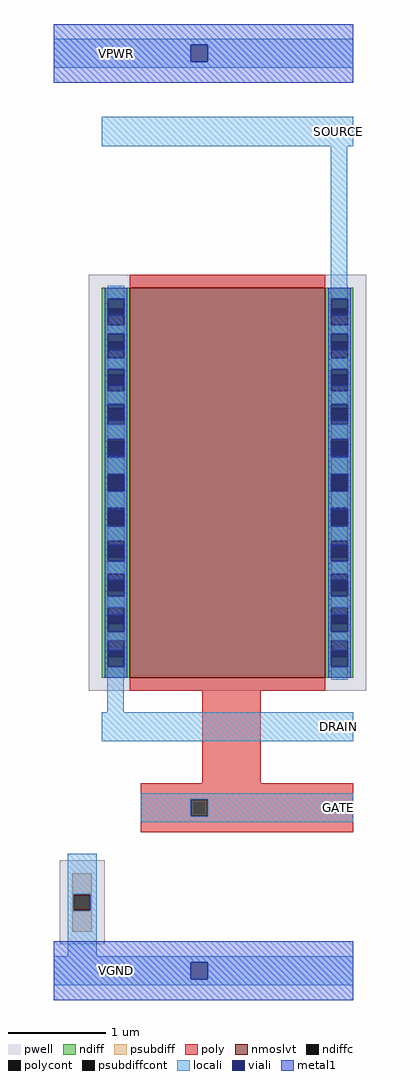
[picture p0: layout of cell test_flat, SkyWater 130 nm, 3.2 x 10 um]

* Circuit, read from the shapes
.subckt test_flat VPWR VGND SOURCE DRAIN GATE
XM1 SOURCE GATE DRAIN VGND sky130_fd_pr__nfet_01v8_lvt w=4 l=2
.ends

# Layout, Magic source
magic
tech sky130A
magscale 1 2
<< pwell >>
rect -284 -426 284 426
rect -344 -946 -252 -774
<< nmoslvt >>
rect -200 -400 200 400
<< ndiff >>
rect -258 357 -200 400
rect -258 323 -246 357
rect -212 323 -200 357
rect -258 289 -200 323
rect -258 255 -246 289
rect -212 255 -200 289
rect -258 221 -200 255
rect -258 187 -246 221
rect -212 187 -200 221
rect -258 153 -200 187
rect -258 119 -246 153
rect -212 119 -200 153
rect -258 85 -200 119
rect -258 51 -246 85
rect -212 51 -200 85
rect -258 17 -200 51
rect -258 -17 -246 17
rect -212 -17 -200 17
rect -258 -51 -200 -17
rect -258 -85 -246 -51
rect -212 -85 -200 -51
rect -258 -119 -200 -85
rect -258 -153 -246 -119
rect -212 -153 -200 -119
rect -258 -187 -200 -153
rect -258 -221 -246 -187
rect -212 -221 -200 -187
rect -258 -255 -200 -221
rect -258 -289 -246 -255
rect -212 -289 -200 -255
rect -258 -323 -200 -289
rect -258 -357 -246 -323
rect -212 -357 -200 -323
rect -258 -400 -200 -357
rect 200 357 258 400
rect 200 323 212 357
rect 246 323 258 357
rect 200 289 258 323
rect 200 255 212 289
rect 246 255 258 289
rect 200 221 258 255
rect 200 187 212 221
rect 246 187 258 221
rect 200 153 258 187
rect 200 119 212 153
rect 246 119 258 153
rect 200 85 258 119
rect 200 51 212 85
rect 246 51 258 85
rect 200 17 258 51
rect 200 -17 212 17
rect 246 -17 258 17
rect 200 -51 258 -17
rect 200 -85 212 -51
rect 246 -85 258 -51
rect 200 -119 258 -85
rect 200 -153 212 -119
rect 246 -153 258 -119
rect 200 -187 258 -153
rect 200 -221 212 -187
rect 246 -221 258 -187
rect 200 -255 258 -221
rect 200 -289 212 -255
rect 246 -289 258 -255
rect 200 -323 258 -289
rect 200 -357 212 -323
rect 246 -357 258 -323
rect 200 -400 258 -357
<< ndiffc >>
rect -246 323 -212 357
rect -246 255 -212 289
rect -246 187 -212 221
rect -246 119 -212 153
rect -246 51 -212 85
rect -246 -17 -212 17
rect -246 -85 -212 -51
rect -246 -153 -212 -119
rect -246 -221 -212 -187
rect -246 -289 -212 -255
rect -246 -357 -212 -323
rect 212 323 246 357
rect 212 255 246 289
rect 212 187 246 221
rect 212 119 246 153
rect 212 51 246 85
rect 212 -17 246 17
rect 212 -85 246 -51
rect 212 -153 246 -119
rect 212 -221 246 -187
rect 212 -289 246 -255
rect 212 -357 246 -323
<< psubdiff >>
rect -318 -843 -278 -800
rect -318 -877 -315 -843
rect -281 -877 -278 -843
rect -318 -920 -278 -877
<< psubdiffcont >>
rect -315 -877 -281 -843
<< poly >>
rect -200 400 200 426
rect -200 -426 200 -400
rect -52 -616 68 -426
rect -178 -649 258 -616
rect -178 -683 -75 -649
rect -41 -683 258 -649
rect -178 -716 258 -683
<< polycont >>
rect -75 -683 -41 -649
<< locali >>
rect -356 897 258 910
rect -356 863 -75 897
rect -41 863 258 897
rect -356 850 258 863
rect -258 690 258 750
rect 211 404 245 690
rect -246 377 -212 404
rect 211 386 246 404
rect -246 305 -212 323
rect -246 233 -212 255
rect -246 161 -212 187
rect -246 89 -212 119
rect -246 17 -212 51
rect -246 -51 -212 -17
rect -246 -119 -212 -89
rect -246 -187 -212 -161
rect -246 -255 -212 -233
rect -246 -323 -212 -305
rect -247 -377 -246 -346
rect -247 -404 -212 -377
rect 212 377 246 386
rect 212 305 246 323
rect 212 233 246 255
rect 212 161 246 187
rect 212 89 246 119
rect 212 17 246 51
rect 212 -51 246 -17
rect 212 -119 246 -89
rect 212 -187 246 -161
rect 212 -255 246 -233
rect 212 -323 246 -305
rect 212 -404 246 -377
rect -247 -470 -213 -404
rect -258 -530 258 -470
rect -178 -649 258 -636
rect -178 -683 -75 -649
rect -41 -683 258 -649
rect -178 -696 258 -683
rect -328 -843 -268 -760
rect -328 -877 -315 -843
rect -281 -877 -268 -843
rect -328 -970 -268 -877
rect -356 -983 258 -970
rect -356 -1017 -75 -983
rect -41 -1017 258 -983
rect -356 -1030 258 -1017
<< viali >>
rect -75 863 -41 897
rect -246 357 -212 377
rect -246 343 -212 357
rect -246 289 -212 305
rect -246 271 -212 289
rect -246 221 -212 233
rect -246 199 -212 221
rect -246 153 -212 161
rect -246 127 -212 153
rect -246 85 -212 89
rect -246 55 -212 85
rect -246 -17 -212 17
rect -246 -85 -212 -55
rect -246 -89 -212 -85
rect -246 -153 -212 -127
rect -246 -161 -212 -153
rect -246 -221 -212 -199
rect -246 -233 -212 -221
rect -246 -289 -212 -271
rect -246 -305 -212 -289
rect -246 -357 -212 -343
rect -246 -377 -212 -357
rect 212 357 246 377
rect 212 343 246 357
rect 212 289 246 305
rect 212 271 246 289
rect 212 221 246 233
rect 212 199 246 221
rect 212 153 246 161
rect 212 127 246 153
rect 212 85 246 89
rect 212 55 246 85
rect 212 -17 246 17
rect 212 -85 246 -55
rect 212 -89 246 -85
rect 212 -153 246 -127
rect 212 -161 246 -153
rect 212 -221 246 -199
rect 212 -233 246 -221
rect 212 -289 246 -271
rect 212 -305 246 -289
rect 212 -357 246 -343
rect 212 -377 246 -357
rect -75 -1017 -41 -983
<< metal1 >>
rect -356 897 258 940
rect -356 863 -75 897
rect -41 863 258 897
rect -356 820 258 863
rect -252 377 -206 400
rect -252 343 -246 377
rect -212 343 -206 377
rect -252 305 -206 343
rect -252 271 -246 305
rect -212 271 -206 305
rect -252 233 -206 271
rect -252 199 -246 233
rect -212 199 -206 233
rect -252 161 -206 199
rect -252 127 -246 161
rect -212 127 -206 161
rect -252 89 -206 127
rect -252 55 -246 89
rect -212 55 -206 89
rect -252 17 -206 55
rect -252 -17 -246 17
rect -212 -17 -206 17
rect -252 -55 -206 -17
rect -252 -89 -246 -55
rect -212 -89 -206 -55
rect -252 -127 -206 -89
rect -252 -161 -246 -127
rect -212 -161 -206 -127
rect -252 -199 -206 -161
rect -252 -233 -246 -199
rect -212 -233 -206 -199
rect -252 -271 -206 -233
rect -252 -305 -246 -271
rect -212 -305 -206 -271
rect -252 -343 -206 -305
rect -252 -377 -246 -343
rect -212 -377 -206 -343
rect -252 -400 -206 -377
rect 206 377 252 400
rect 206 343 212 377
rect 246 343 252 377
rect 206 305 252 343
rect 206 271 212 305
rect 246 271 252 305
rect 206 233 252 271
rect 206 199 212 233
rect 246 199 252 233
rect 206 161 252 199
rect 206 127 212 161
rect 246 127 252 161
rect 206 89 252 127
rect 206 55 212 89
rect 246 55 252 89
rect 206 17 252 55
rect 206 -17 212 17
rect 246 -17 252 17
rect 206 -55 252 -17
rect 206 -89 212 -55
rect 246 -89 252 -55
rect 206 -127 252 -89
rect 206 -161 212 -127
rect 246 -161 252 -127
rect 206 -199 252 -161
rect 206 -233 212 -199
rect 246 -233 252 -199
rect 206 -271 252 -233
rect 206 -305 212 -271
rect 246 -305 252 -271
rect 206 -343 252 -305
rect 206 -377 212 -343
rect 246 -377 252 -343
rect 206 -400 252 -377
rect -356 -983 258 -940
rect -356 -1017 -75 -983
rect -41 -1017 258 -983
rect -356 -1060 258 -1017
<< labels >>
flabel metal1 s -258 850 -198 910 1 FreeSans 1000 0 0 0 VPWR
port 1 nsew
flabel metal1 s -258 -1030 -198 -970 1 FreeSans 1000 0 0 0 VGND
port 2 nsew
flabel locali s 198 690 258 750 1 FreeSans 1000 0 0 0 SOURCE
port 3 nsew
flabel locali s 198 -530 258 -470 1 FreeSans 1000 0 0 0 DRAIN
port 4 nsew
flabel locali s 198 -696 258 -636 1 FreeSans 1000 0 0 0 GATE
port 5 nsew
<< end >>
